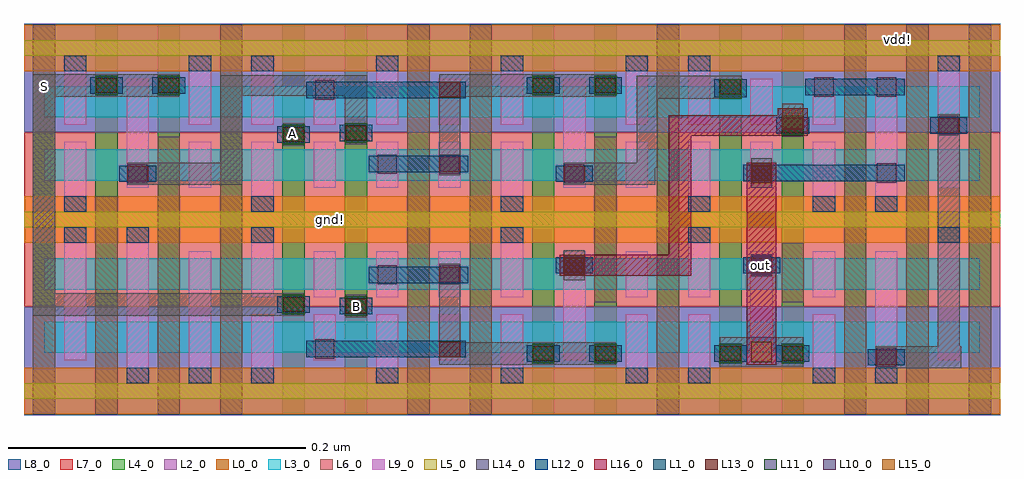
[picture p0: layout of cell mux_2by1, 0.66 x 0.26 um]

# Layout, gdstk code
from math import pi, radians
import gdstk
lib = gdstk.Library(unit=1e-6, precision=5e-10)
def R(c, l, rs):  # rectangles x0, y0, x1, y1
    for r in rs: c.add(gdstk.rectangle(r[:2], r[2:], *l))
def A(c, l, x, y, w, h, nx, ny, dx, dy):  # array of equal rectangles
    R(c, l, [(x+i*dx, y+j*dy, x+i*dx+w, y+j*dy+h) for i in range(nx) for j in range(ny)])
L0_0 = (0, 0)
L1_0 = (1, 0)
L2_0 = (2, 0)
L3_0 = (3, 0)
L4_0 = (4, 0)
L5_0 = (5, 0)
L6_0 = (6, 0)
L7_0 = (7, 0)
L8_0 = (8, 0)
L9_0 = (9, 0)
L10_0 = (10, 0)
L11_0 = (11, 0)
L12_0 = (12, 0)
L13_0 = (13, 0)
L14_0 = (14, 0)
L15_0 = (15, 0)
L16_0 = (16, 0)

nmos = lib.new_cell('nmos')
R(nmos, L3_0, [(-0.042,-0.0105,0.042,0.0105)])
A(nmos, L4_0, -0.0495, -0.032, 0.015, 0.064, 3, 1, 0.042, 0)
R(nmos, L7_0, [(-0.0555,-0.021,0.0555,0.0205)])
R(nmos, L9_0, [(-0.0285,-0.0155,-0.0135,0.0155), (0.0135,-0.0155,0.0285,0.0155)])

pmos = lib.new_cell('pmos')
R(pmos, L2_0, [(-0.042,-0.0205,0.042,0.0205)])
R(pmos, L3_0, [(-0.042,-0.0105,0.042,0.0105)])
A(pmos, L4_0, -0.0495, -0.032, 0.015, 0.064, 3, 1, 0.042, 0)
R(pmos, L8_0, [(-0.0555,-0.0205,0.0555,0.0205)])
R(pmos, L9_0, [(-0.0285,-0.0155,-0.0135,0.0155), (0.0135,-0.0155,0.0285,0.0155)])

bpr_m0a = lib.new_cell('BPR_M0A')
R(bpr_m0a, L0_0, [(-0.021,-0.0055,0.021,0.026)])
R(bpr_m0a, L1_0, [(-0.0075,-0.0055,0.0075,0.005)])
R(bpr_m0a, L9_0, [(-0.0075,-0.0165,0.0075,0.005)])

m0a_m0b = lib.new_cell('M0A_M0B')
R(m0a_m0b, L9_0, [(-0.0075,-0.0055,0.0075,0.0055)])
R(m0a_m0b, L10_0, [(-0.0065,-0.0065,0.0065,0.0065)])
R(m0a_m0b, L12_0, [(-0.0125,-0.0055,0.0125,0.0055)])

gate_m0b = lib.new_cell('GATE_M0B')
R(gate_m0b, L4_0, [(-0.0075,-0.0115,0.0075,0.0115)])
R(gate_m0b, L11_0, [(-0.0075,-0.0065,0.0075,0.0065)])
R(gate_m0b, L12_0, [(-0.011,-0.0055,0.011,0.0055)])

m0b_m1 = lib.new_cell('M0B_M1')
R(m0b_m1, L12_0, [(-0.011,-0.005,0.011,0.005)])
R(m0b_m1, L13_0, [(-0.007,-0.005,0.007,0.005)])
R(m0b_m1, L14_0, [(-0.007,-0.0075,0.007,0.0075)])

inv = lib.new_cell('inv')
R(inv, L0_0, [(0,0,0.153,0.0315), (0.025,0.006,0.0415,0.016), (0,0.1155,0.153,0.147), (0.11,0.131,0.125,0.1425)])
R(inv, L2_0, [(0,0.0745,0.153,0.147)])
A(inv, L4_0, 0.006, 0, 0.015, 0.147, 4, 1, 0.042, 0)
R(inv, L5_0, [(0,0.0105,0.153,0.021), (0,0.126,0.153,0.1365)])
R(inv, L6_0, [(0.006,0,0.021,0.147), (0.132,0,0.147,0.147), (0.09,0.0315,0.105,0.0715)])
R(inv, L7_0, [(0,0,0.153,0.0745)])
R(inv, L8_0, [(0,0.075,0.153,0.1475)])
R(inv, L9_0, [(0.069,0.068,0.084,0.0795)])
R(inv, L12_0, [(0.0915,0.103,0.1055,0.1095)])
R(inv, L14_0, [(0.071,0.0415,0.0815,0.051), (0.0485,0.0985,0.1045,0.1135)])
inv.add(gdstk.Reference(nmos, (0.0975,0.0525)))
inv.add(gdstk.Reference(nmos, (0.0555,0.0525)))
inv.add(gdstk.Reference(pmos, (0.0975,0.095)))
inv.add(gdstk.Reference(pmos, (0.0555,0.095)))
inv.add(gdstk.Reference(bpr_m0a, (0.0345,0.026), rotation=pi))
inv.add(gdstk.Reference(bpr_m0a, (0.0345,0.121)))
inv.add(gdstk.Reference(bpr_m0a, (0.1185,0.121)))
inv.add(gdstk.Reference(m0a_m0b, (0.0765,0.0465)))
inv.add(gdstk.Reference(gate_m0b, (0.0555,0.106)))
inv.add(gdstk.Reference(gate_m0b, (0.0975,0.106)))
inv.add(gdstk.Reference(m0b_m1, (0.0555,0.106)))
inv.add(gdstk.Reference(m0b_m1, (0.0765,0.0465)))
inv.add(gdstk.Reference(m0b_m1, (0.0975,0.106)))
inv.add(gdstk.Label('vdd!', (0.1175,0.1365), layer=0, texttype=0))
inv.add(gdstk.Label('gnd!', (0.033,0.011), layer=0, texttype=0))
inv.add(gdstk.Label('out', (0.075,0.0435), layer=14, texttype=0))
inv.add(gdstk.Label('in', (0.0985,0.1045), layer=14, texttype=0))

nand = lib.new_cell('nand')
R(nand, L0_0, [(0.1045,0.057,0.2155,0.0885), (0.1465,0.057,0.2995,0.0885), (0.133,0.0665,0.142,0.074), (0.1045,0.1725,0.2155,0.204), (0.1465,0.1725,0.2995,0.204), (0.137,0.192,0.143,0.198)])
R(nand, L2_0, [(0.1045,0.1315,0.2155,0.204), (0.1465,0.1315,0.2995,0.204)])
A(nand, L4_0, 0.1105, 0.057, 0.015, 0.147, 5, 1, 0.042, 0)
R(nand, L4_0, [(0.2785,0.057,0.2935,0.204)])
R(nand, L5_0, [(0.1045,0.0675,0.2995,0.078), (0.1045,0.183,0.2995,0.1935)])
R(nand, L6_0, [(0.1105,0.057,0.1255,0.204), (0.2365,0.057,0.2515,0.204), (0.2785,0.057,0.2935,0.204)])
R(nand, L7_0, [(0.1045,0.057,0.2155,0.1315), (0.1465,0.057,0.2995,0.1315)])
R(nand, L8_0, [(0.1045,0.132,0.2155,0.2045), (0.1465,0.132,0.2995,0.2045)])
R(nand, L12_0, [(0.2105,0.1045,0.2775,0.1155), (0.1685,0.1545,0.276,0.1655)])
R(nand, L14_0, [(0.258,0.1025,0.272,0.1675), (0.1575,0.128,0.162,0.133), (0.2,0.1295,0.204,0.133), (0.262,0.1575,0.2675,0.1625)])
nand.add(gdstk.Reference(nmos, (0.244,0.1095), rotation=pi, x_reflection=True))
nand.add(gdstk.Reference(nmos, (0.16,0.1095), rotation=pi, x_reflection=True))
nand.add(gdstk.Reference(pmos, (0.16,0.152), rotation=pi, x_reflection=True))
nand.add(gdstk.Reference(pmos, (0.202,0.152), rotation=pi, x_reflection=True))
nand.add(gdstk.Reference(pmos, (0.244,0.152), rotation=pi, x_reflection=True))
nand.add(gdstk.Reference(bpr_m0a, (0.139,0.178), rotation=pi, x_reflection=True))
nand.add(gdstk.Reference(bpr_m0a, (0.139,0.083), x_reflection=True))
nand.add(gdstk.Reference(bpr_m0a, (0.223,0.178), rotation=pi, x_reflection=True))
nand.add(gdstk.Reference(m0a_m0b, (0.265,0.11)))
nand.add(gdstk.Reference(m0a_m0b, (0.181,0.16)))
nand.add(gdstk.Reference(m0a_m0b, (0.223,0.11)))
nand.add(gdstk.Reference(m0b_m1, (0.265,0.16)))
nand.add(gdstk.Reference(m0b_m1, (0.265,0.11)))
nand.add(gdstk.Reference(m0b_m1, (0.202,0.131)))
nand.add(gdstk.Reference(m0b_m1, (0.16,0.13)))
nand.add(gdstk.Reference(gate_m0b, (0.202,0.131)))
nand.add(gdstk.Reference(gate_m0b, (0.16,0.13)))
nand.add(gdstk.Label('Y', (0.2645,0.16), layer=14, texttype=0))
nand.add(gdstk.Label('A', (0.1595,0.1305), layer=14, texttype=0))
nand.add(gdstk.Label('B', (0.202,0.131), layer=14, texttype=0))
nand.add(gdstk.Label('gnd!', (0.1375,0.07), layer=0, texttype=0))
nand.add(gdstk.Label('vdd!', (0.14,0.195), layer=0, texttype=0))

m1_m2 = lib.new_cell('M1_M2')
R(m1_m2, L14_0, [(-0.007,-0.01,0.007,0.01)])
R(m1_m2, L15_0, [(-0.007,-0.007,0.007,0.007)])
R(m1_m2, L16_0, [(-0.01,-0.007,0.01,0.007)])

nor = lib.new_cell('nor')
R(nor, L0_0, [(0.157,0.0005,0.352,0.032), (0.186,0.009,0.1965,0.016), (0.157,0.116,0.352,0.1475), (0.1885,0.1335,0.1945,0.1415)])
R(nor, L2_0, [(0.157,0.075,0.352,0.1475)])
A(nor, L4_0, 0.163, 0.0005, 0.015, 0.147, 5, 1, 0.042, 0)
R(nor, L5_0, [(0.157,0.011,0.352,0.0215), (0.157,0.1265,0.352,0.137)])
R(nor, L6_0, [(0.163,0.0005,0.178,0.1475), (0.289,0.0005,0.304,0.1475), (0.331,0.0005,0.346,0.1475)])
R(nor, L7_0, [(0.157,0.0005,0.352,0.075)])
R(nor, L8_0, [(0.157,0.075,0.352,0.148)])
R(nor, L9_0, [(0.31,0.0685,0.325,0.08)])
R(nor, L12_0, [(0.221,0.042,0.325,0.053), (0.263,0.1,0.33,0.111)])
R(nor, L14_0, [(0.253,0.0775,0.2565,0.0805), (0.209,0.1035,0.2155,0.1085)])
R(nor, L16_0, [(0.2315,0.0455,0.2355,0.0495)])
nor.add(gdstk.Reference(bpr_m0a, (0.1915,0.1215)))
nor.add(gdstk.Reference(bpr_m0a, (0.2755,0.0265), rotation=pi))
nor.add(gdstk.Reference(bpr_m0a, (0.1915,0.0265), rotation=pi))
nor.add(gdstk.Reference(nmos, (0.2965,0.053)))
nor.add(gdstk.Reference(nmos, (0.2545,0.053)))
nor.add(gdstk.Reference(nmos, (0.2125,0.053)))
nor.add(gdstk.Reference(pmos, (0.2965,0.0955)))
nor.add(gdstk.Reference(pmos, (0.2545,0.0955)))
nor.add(gdstk.Reference(pmos, (0.2125,0.0955)))
nor.add(gdstk.Reference(m0b_m1, (0.2545,0.0795)))
nor.add(gdstk.Reference(m0b_m1, (0.2125,0.1055)))
nor.add(gdstk.Reference(m0b_m1, (0.2335,0.0475)))
nor.add(gdstk.Reference(m0a_m0b, (0.3175,0.0475)))
nor.add(gdstk.Reference(m0a_m0b, (0.3175,0.1055)))
nor.add(gdstk.Reference(m0a_m0b, (0.2755,0.1055)))
nor.add(gdstk.Reference(m0a_m0b, (0.2335,0.0475)))
nor.add(gdstk.Reference(gate_m0b, (0.2545,0.0795)))
nor.add(gdstk.Reference(gate_m0b, (0.2125,0.104)))
nor.add(gdstk.Reference(m1_m2, (0.2335,0.0475)))
nor.add(gdstk.Label('B', (0.2545,0.079), layer=14, texttype=0))
nor.add(gdstk.Label('A', (0.212,0.106), layer=14, texttype=0))
nor.add(gdstk.Label('gnd!', (0.191,0.0125), layer=0, texttype=0))
nor.add(gdstk.Label('vdd!', (0.1915,0.1375), layer=0, texttype=0))
nor.add(gdstk.Label('Y', (0.2335,0.0475), layer=16, texttype=0))

sram_filler = lib.new_cell('sram_filler')
R(sram_filler, L0_0, [(0.001,0,0.112,0.0315), (0.072,0.0115,0.084,0.0245), (0.001,0.1155,0.112,0.147), (0.072,0.121,0.0855,0.141)])
R(sram_filler, L2_0, [(0.001,0.0745,0.112,0.147)])
A(sram_filler, L4_0, 0.007, 0, 0.015, 0.147, 3, 1, 0.042, 0)
R(sram_filler, L5_0, [(0.001,0.0105,0.112,0.021), (0.001,0.126,0.112,0.1365)])
A(sram_filler, L6_0, 0.007, 0, 0.015, 0.147, 3, 1, 0.042, 0)
R(sram_filler, L7_0, [(0.001,0,0.112,0.0745)])
R(sram_filler, L8_0, [(0.001,0.075,0.112,0.1475)])
R(sram_filler, L9_0, [(0.028,0.068,0.043,0.0795), (0.07,0.068,0.085,0.0795)])
sram_filler.add(gdstk.Reference(nmos, (0.0565,0.0525)))
sram_filler.add(gdstk.Reference(pmos, (0.0565,0.095)))
sram_filler.add(gdstk.Reference(bpr_m0a, (0.0355,0.026), rotation=pi))
sram_filler.add(gdstk.Reference(bpr_m0a, (0.0775,0.121)))

mux_2by1 = lib.new_cell('mux_2by1')
R(mux_2by1, L0_0, [(0.328,0.2845,0.3355,0.293), (0.709,0.4055,0.718,0.414)])
R(mux_2by1, L6_0, [(0.5095,0.2725,0.5245,0.304)])
R(mux_2by1, L14_0, [(0.699,0.188,0.7565,0.203), (0.7405,0.188,0.7555,0.359), (0.594,0.189,0.65,0.209), (0.405,0.1905,0.468,0.2055), (0.1315,0.2235,0.314,0.2385), (0.1315,0.2235,0.1465,0.386), (0.347,0.228,0.351,0.2315), (0.6165,0.253,0.627,0.2625), (0.195,0.3115,0.2725,0.3265), (0.2575,0.3115,0.2725,0.3855), (0.489,0.3115,0.5505,0.3265), (0.538,0.323,0.552,0.385), (0.3415,0.339,0.3565,0.3855), (0.3045,0.3435,0.309,0.3485), (0.538,0.3695,0.6085,0.385), (0.1315,0.371,0.188,0.386), (0.405,0.371,0.468,0.386), (0.2575,0.3715,0.3565,0.3855), (0.136,0.3745,0.1435,0.382)])
R(mux_2by1, L16_0, [(0.612,0.1905,0.632,0.3265), (0.486,0.2505,0.5745,0.2645), (0.5595,0.2505,0.5745,0.358), (0.5595,0.3445,0.653,0.3585)])
mux_2by1.add(gdstk.Reference(inv, (0.4195,0.304), x_reflection=True))
mux_2by1.add(gdstk.Reference(inv, (0.5455,0.304), x_reflection=True))
mux_2by1.add(gdstk.Reference(inv, (0.4195,0.2725)))
mux_2by1.add(gdstk.Reference(inv, (0.1255,0.2725)))
mux_2by1.add(gdstk.Reference(nand, (0.147,0.361), x_reflection=True))
mux_2by1.add(gdstk.Reference(nand, (0.147,0.2155)))
mux_2by1.add(gdstk.Reference(nor, (0.3885,0.272)))
mux_2by1.add(gdstk.Reference(sram_filler, (0.6705,0.2725)))
mux_2by1.add(gdstk.Reference(sram_filler, (0.7835,0.304), rotation=pi))
mux_2by1.add(gdstk.Reference(sram_filler, (0.1245,0.304), x_reflection=True))
mux_2by1.add(gdstk.Reference(sram_filler, (0.1665,0.304), x_reflection=True))
mux_2by1.add(gdstk.Reference(m1_m2, (0.622,0.199), rotation=pi))
mux_2by1.add(gdstk.Reference(m1_m2, (0.643,0.356)))
mux_2by1.add(gdstk.Reference(m1_m2, (0.496,0.2575)))
mux_2by1.add(gdstk.Reference(m0a_m0b, (0.748,0.3515)))
mux_2by1.add(gdstk.Reference(m0a_m0b, (0.706,0.1955)))
mux_2by1.add(gdstk.Reference(m0b_m1, (0.748,0.3515)))
mux_2by1.add(gdstk.Reference(m0b_m1, (0.706,0.1955)))
mux_2by1.add(gdstk.Label('out', (0.6215,0.2575), layer=14, texttype=0))
mux_2by1.add(gdstk.Label('B', (0.349,0.2295), layer=14, texttype=0))
mux_2by1.add(gdstk.Label('A', (0.3065,0.346), layer=14, texttype=0))
mux_2by1.add(gdstk.Label('S', (0.1395,0.378), layer=14, texttype=0))
mux_2by1.add(gdstk.Label('gnd!', (0.3315,0.2885), layer=0, texttype=0))
mux_2by1.add(gdstk.Label('vdd!', (0.7135,0.4095), layer=0, texttype=0))

lib.write_gds('mux_2by1.gds')
